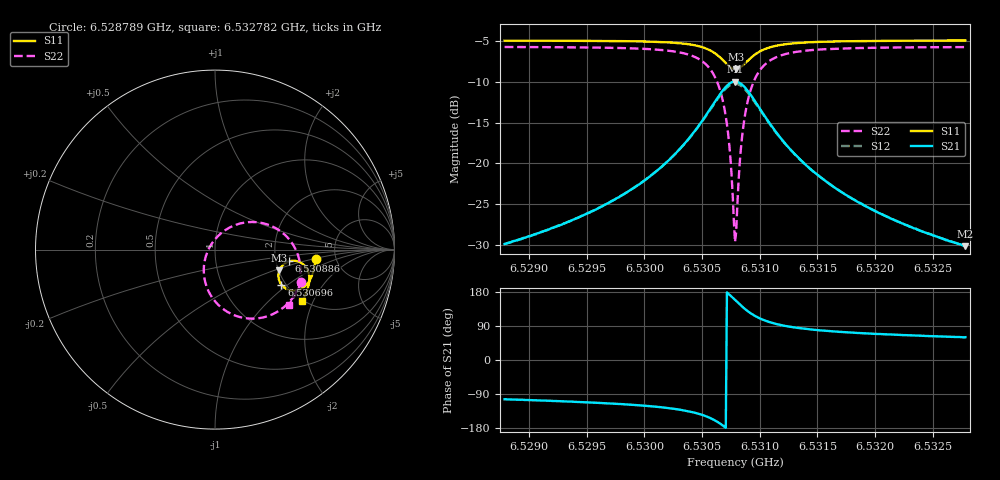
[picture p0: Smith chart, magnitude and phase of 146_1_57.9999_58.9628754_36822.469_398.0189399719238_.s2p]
#  HZ  S  RI  R  50.00
! Rohde & Schwarz Vector Network Analyzer
! Rohde-Schwarz,ZNB20-2Port,1311601062101988,3.16
! Created: UTC 3/21/2024, 12:56:49 AM
! freq[Hz]  re:S11  im:S11  re:S21  im:S21  re:S12  im:S12  re:S22  im:S22
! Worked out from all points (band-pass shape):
!   401 points, 6.528789 GHz to 6.532782 GHz, reference 50 ohm
!   highest |S21| = -9.99 dB at 6.530786 GHz (marker M1); lowest = -30.1 dB at 6.532782 GHz (marker M2)
!   |S21| within 3 dB of the highest: 6.530587 GHz to 6.530986 GHz (399.5 kHz wide, 0.00612 % of centre)
!   lowest |S11| = -8.5 dB at 6.530796 GHz (marker M3), VSWR 2.21, Z = 101 - j27 ohm
!   |S11| at or under -10 dB: nowhere
!   |S22| runs from -29.6 to -5.8 dB; largest |S21 - S12| = 0.013
!   S11 on the Smith chart (normalised r, x): 6.528789 GHz: 3.49, -0.53; 6.530696 GHz: 1.90, -0.90; 6.530886 GHz: 2.36, -0.38; 6.532782 GHz: 1.96, -1.66
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6.5287892e9  0.5605 -0.0523  -0.00757 -0.0313  -0.0083 -0.0311  0.4816 -0.183
6.5294581e9  0.5512 -0.1088  -0.0173 -0.0446  -0.0183 -0.0442  0.4494 -0.2456
6.5298274e9  0.5405 -0.1439  -0.0295 -0.0581  -0.031 -0.0574  0.4161 -0.2895
6.5301269e9  0.524 -0.1774  -0.0518 -0.0764  -0.054 -0.075  0.3649 -0.3349
6.5303565e9  0.4972 -0.2076  -0.0927 -0.0966  -0.0957 -0.0935  0.2816 -0.3745
6.5305263e9  0.4526 -0.2277  -0.1628 -0.1038  -0.1655 -0.0967  0.1518 -0.3791
6.5306261e9  0.4064 -0.2228  -0.2348 -0.0768  -0.234 -0.0665  0.0314 -0.3197
6.530696e9  0.3701 -0.1949  -0.2878 -0.0167  -0.2816 -0.00593  -0.0461 -0.208
6.5307359e9  0.3562 -0.1663  -0.3047 0.0379  -0.295 0.0465  -0.0627 -0.1144
6.5307758e9  0.3545 -0.1317  -0.2998 0.1002  -0.2883 0.1052  -0.0424 -0.013
6.5307858e9  0.3564 -0.1231  -0.2949 0.1155  -0.2831 0.1195  -0.0312 0.0108
6.5307958e9  0.3592 -0.1146  -0.2883 0.1304  -0.2765 0.1331  -0.0176 0.0337
6.5308058e9  0.363 -0.1065  -0.2804 0.1443  -0.2687 0.1461  -0.00204 0.0549
6.5308258e9  0.3728 -0.0919  -0.2607 0.1691  -0.2498 0.1691  0.0348 0.092
6.5308457e9  0.3848 -0.0802  -0.2377 0.1892  -0.2278 0.1876  0.0764 0.1202
6.5308857e9  0.4123 -0.0656  -0.1874 0.2133  -0.1801 0.2101  0.1638 0.1503
6.5309555e9  0.4568 -0.0645  -0.1097 0.2158  -0.106 0.2126  0.2944 0.139
6.5310554e9  0.4961 -0.0863  -0.0427 0.1841  -0.0409 0.1825  0.4026 0.069
6.5312051e9  0.5192 -0.1225  -0.00194 0.1363  -0.000784 0.1356  0.4617 -0.0288
6.5314547e9  0.5259 -0.1662  0.0154 0.0891  0.0166 0.0889  0.4764 -0.1286
6.5321236e9  0.5096 -0.2374  0.0178 0.043  0.0186 0.0427  0.4478 -0.2462
6.5327825e9  0.4857 -0.2882  0.0155 0.027  0.0162 0.0268  0.4134 -0.3061
